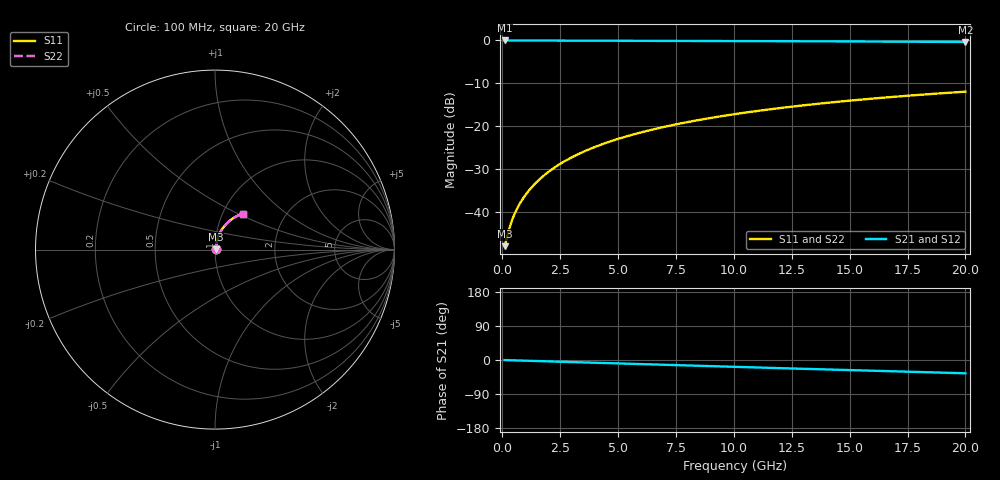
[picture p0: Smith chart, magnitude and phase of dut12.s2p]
! Touchstone file exported from HFSS 2026.1.0
!  File:  C:/ffzhzh/LocalFiles/Ansys_Project_Files/temp_val_TMRDL_12_1782902861_43084.aedt
!  Generated:  06:48:55 PM Jul  1, 2026
!  Design:  TMRDL
!  Project:  temp_val_TMRDL_12_1782902861_43084
! Variables:
!  h_bsmrdl = 2um
!  h_ox = 20um
!  h_rdl = 5um
!  h_sub = 80um
!  h_tmrdl = 2.45um
!  h_tsv = 80um
!  h_via = 3um
!  l_bsmrdl = 300um
!  l_sub = 944.03um
!  l_tmrdl = 544.03um
!  m_sub = 200um
!  pitch = 38.83um
!  r_tsv = 6um
!  s_tmrdl = 10um
!  w_bsmrdl = 18um
!  w_sub = 500um
!  w_tmrdl = 24.07um
!  x_tsv_center1 = 556.065um
!  x_tsv_center2 = 874.065um
!  x_tsv_center3 = 1442.165um
!  x_tsv_center4 = 1760.165um
!  x_tsv_center5 = 2328.265um
!  x_tsv_center6 = 2646.265um
# GHz S MA R 50.000000
! Terminal data exported
! Port[1] = TM_RDL1_1_T1
! Port[2] = TM_RDL1_1_T2
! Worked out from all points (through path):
!   200 points, 100 MHz to 20 GHz, reference 50 ohm
!   highest |S21| = -0.03 dB at 100 MHz (marker M1); lowest = -0.4 dB at 20 GHz (marker M2)
!   group delay of S21, straight-line fit = 4.88 ps
!   lowest |S11| = -48.0 dB at 100 MHz (marker M3), VSWR 1.01, Z = 50.4 + j0.172 ohm
!   |S11| at or under -10 dB: start of sweep to end of sweep
!   |S22| runs from -48.0 to -12.0 dB; largest |S21 - S12| = 3e-15
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0.1  0.00397 25.5  0.9964 -0.2  0.9964 -0.2  0.00397 25.5
! Gamma 0 0 0 0
! Port Impedance 50 0 50 0
0.3  0.006332 51.2  0.9961 -0.6  0.9961 -0.6  0.006332 51.2
0.4  0.007685 56.9  0.9959 -0.8  0.9959 -0.8  0.007685 56.9
0.5  0.009035 60.7  0.9957 -1.0  0.9957 -1.0  0.009036 60.7
0.6  0.01037 63.5  0.9955 -1.1  0.9955 -1.1  0.01037 63.5
0.8  0.01303 67.4  0.9952 -1.5  0.9952 -1.5  0.01303 67.4
1  0.01569 70.2  0.9951 -1.9  0.9951 -1.9  0.01569 70.1
1.2  0.01837 72.1  0.9949 -2.2  0.9949 -2.2  0.01837 72.1
1.4  0.02108 73.6  0.9948 -2.6  0.9948 -2.6  0.02108 73.6
1.7  0.02517 75.1  0.9946 -3.1  0.9946 -3.1  0.02517 75.1
2.2  0.03205 76.5  0.9942 -4.0  0.9942 -4.0  0.03205 76.5
2.8  0.04036 77.2  0.9938 -5.1  0.9938 -5.1  0.04036 77.2
3.5  0.05008 77.2  0.9932 -6.4  0.9932 -6.4  0.05008 77.2
4.2  0.05977 76.8  0.9924 -7.6  0.9924 -7.6  0.05977 76.8
5  0.0708 76.0  0.9915 -9.1  0.9915 -9.1  0.0708 76.0
5.9  0.08309 74.9  0.9902 -10.7  0.9902 -10.7  0.0831 74.9
6.8  0.09526 73.7  0.9888 -12.3  0.9888 -12.3  0.09526 73.7
8.3  0.1152 71.4  0.9861 -15.0  0.9861 -15.0  0.1152 71.4
10.1  0.1385 68.6  0.9824 -18.2  0.9824 -18.2  0.1385 68.5
13.4  0.1792 63.2  0.9746 -23.9  0.9746 -23.9  0.1792 63.1
16.7  0.217 57.8  0.9658 -29.6  0.9658 -29.6  0.217 57.7
20  0.2518 52.4  0.9564 -35.1  0.9564 -35.1  0.2518 52.3
